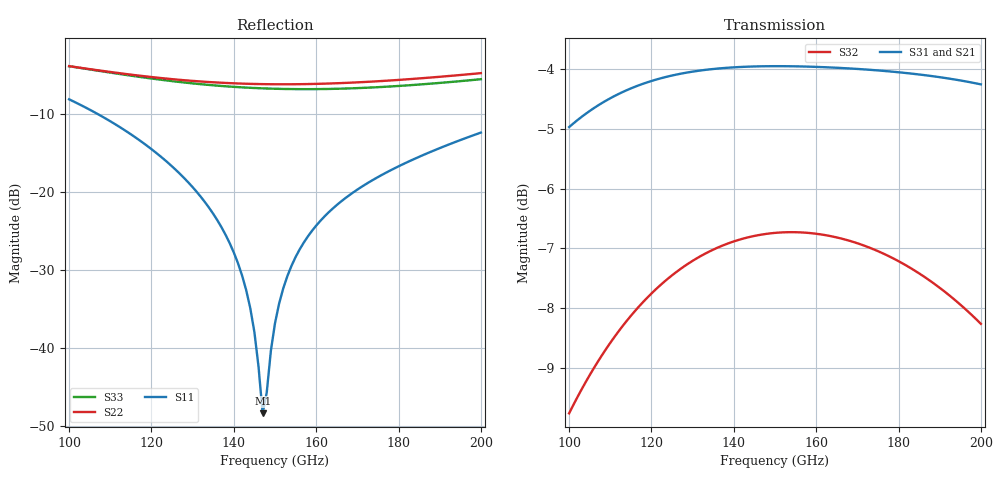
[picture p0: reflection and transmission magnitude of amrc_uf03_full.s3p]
! Created with skrf 2.1.0 (http://scikit-rf.org).
# GHz S DB R 50.0
! Port[1] = P1
! Port[2] = P2
! Port[3] = P3
!freq dBS11 angS11 dBS12 angS12 dBS13 angS13
! dBS21 angS21 dBS22 angS22 dBS23 angS23
! dBS31 angS31 dBS32 angS32 dBS33 angS33
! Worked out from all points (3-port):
!   101 points, 100 GHz to 200 GHz, reference 50 ohm
!   strongest paths, dB at 100 GHz, 125 GHz, 150 GHz, 175 GHz, 200 GHz:
!     S31: -5.0, -4.1, -4.0, -4.0, -4.3
!     S21: -4.7, -4.0, -4.0, -4.2, -4.6
!     S32: -9.8, -7.4, -6.7, -7.0, -8.3
!   lowest |S11| = -48.4 dB at 147 GHz (marker M1), VSWR 1.01, Z = 50.4 + j0.0746 ohm
!   |S11| at or under -10 dB: 106.7 GHz to end of sweep
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100  -8.18 129.8  -4.74 -10.3  -4.97 166.2
     -4.74 -10.3  -3.94 60.2  -9.75 91.1
     -4.97 166.2  -9.75 91.1  -3.94 50.6
122  -15.40 100.2  -4.05 -43.5  -4.17 131.1
     -4.05 -43.5  -5.44 40.9  -7.62 58.5
     -4.17 131.1  -7.62 58.5  -5.65 28.4
136  -23.66 84.7  -3.95 -62.4  -4.00 111.1
     -3.95 -62.4  -6.03 30.6  -6.99 39.6
     -4.00 111.1  -6.99 39.6  -6.43 16.8
143  -32.60 73.6  -3.95 -71.4  -3.97 101.6
     -3.95 -71.4  -6.19 25.7  -6.82 30.7
     -3.97 101.6  -6.82 30.7  -6.68 11.4
145  -37.99 64.6  -3.95 -73.9  -3.96 98.9
     -3.95 -73.9  -6.22 24.2  -6.79 28.1
     -3.96 98.9  -6.79 28.1  -6.73 9.9
147  -48.37 11.2  -3.96 -76.4  -3.96 96.3
     -3.96 -76.4  -6.24 22.8  -6.77 25.6
     -3.96 96.3  -6.77 25.6  -6.78 8.4
150  -36.83 -88.1  -3.97 -80.1  -3.96 92.3
     -3.97 -80.1  -6.25 20.7  -6.74 21.9
     -3.96 92.3  -6.74 21.9  -6.83 6.2
155  -28.37 -100.0  -4.00 -86.2  -3.96 85.9
     -4.00 -86.2  -6.25 17.1  -6.73 15.8
     -3.96 85.9  -6.73 15.8  -6.87 2.4
164  -22.17 -107.4  -4.07 -97.1  -3.98 74.4
     -4.07 -97.1  -6.14 10.4  -6.80 5.0
     -3.98 74.4  -6.80 5.0  -6.84 -4.4
200  -12.44 -129.1  -4.63 -140.3  -4.26 29.0
     -4.63 -140.3  -4.83 -20.2  -8.26 -37.2
     -4.26 29.0  -8.26 -37.2  -5.61 -34.4
